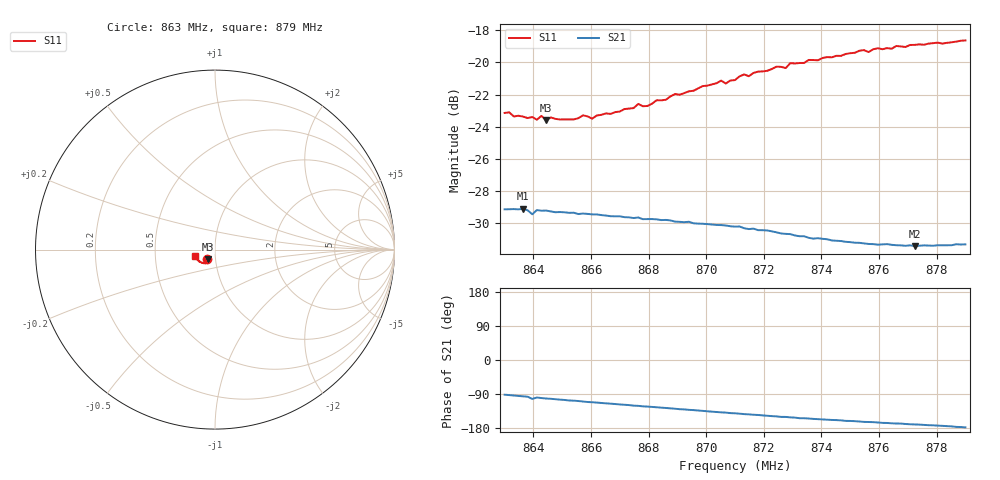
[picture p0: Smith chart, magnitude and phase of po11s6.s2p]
# HZ S RI R 50
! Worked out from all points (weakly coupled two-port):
!   101 points, 863 MHz to 879 MHz, reference 50 ohm
!   highest |S21| = -29.13 dB at 863.64 MHz (marker M1); lowest = -31.5 dB at 877.24 MHz (marker M2)
!   lowest |S11| = -23.6 dB at 864.44 MHz (marker M3), VSWR 1.14, Z = 46.2 - j5.07 ohm
!   |S11| at or under -10 dB: start of sweep to end of sweep
!   S12 and S22 are empty: the file has one direction only
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8.63e8  -0.0425 -0.0551  -0.000962 -0.0348  0 0  0 0
8.6364e8  -0.0401 -0.0547  -0.00356 -0.0348  0 0  0 0
8.6396e8  -0.0405 -0.0541  -0.00743 -0.0328  0 0  0 0
8.6412e8  -0.039 -0.0536  -0.00536 -0.0342  0 0  0 0
8.6428e8  -0.0387 -0.056  -0.00623 -0.0339  0 0  0 0
8.6444e8  -0.037 -0.0546  -0.00695 -0.0338  0 0  0 0
8.646e8  -0.0372 -0.0562  -0.00734 -0.0335  0 0  0 0
8.654e8  -0.0343 -0.0569  -0.0101 -0.0324  0 0  0 0
8.6572e8  -0.0342 -0.0592  -0.0113 -0.0318  0 0  0 0
8.6604e8  -0.033 -0.058  -0.0123 -0.0312  0 0  0 0
8.6844e8  -0.0369 -0.0667  -0.0188 -0.0261  0 0  0 0
8.7052e8  -0.0481 -0.0734  -0.0231 -0.0208  0 0  0 0
8.7068e8  -0.046 -0.0726  -0.0233 -0.0204  0 0  0 0
8.71e8  -0.0486 -0.0735  -0.0238 -0.0195  0 0  0 0
8.7132e8  -0.0512 -0.0762  -0.0242 -0.0184  0 0  0 0
8.7148e8  -0.0504 -0.0752  -0.0243 -0.018  0 0  0 0
8.7244e8  -0.0623 -0.0744  -0.0252 -0.0153  0 0  0 0
8.7372e8  -0.069 -0.0748  -0.0257 -0.0117  0 0  0 0
8.7532e8  -0.0844 -0.0687  -0.0261 -0.00832  0 0  0 0
8.7644e8  -0.0922 -0.0607  -0.0263 -0.00602  0 0  0 0
8.7724e8  -0.0995 -0.0545  -0.0263 -0.00462  0 0  0 0
8.79e8  -0.1109 -0.0377  -0.027 -0.00107  0 0  0 0
